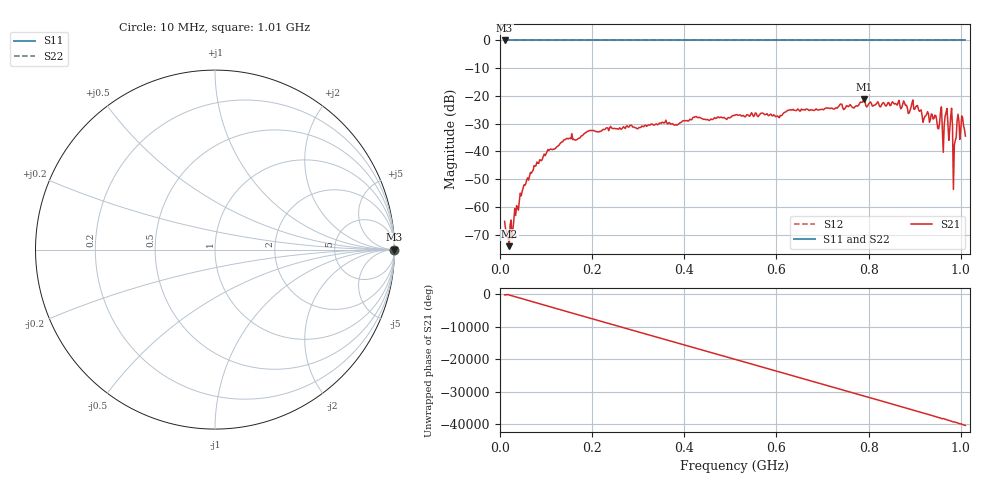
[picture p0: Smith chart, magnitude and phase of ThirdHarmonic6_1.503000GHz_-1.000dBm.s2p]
! 8/16/2025 5:40:12 PM
! C:\ANRITSUVNA\TEMP\TEMP.S2P
! CHANNEL.1
! TR.MEASUREMENT
! RAW.DATA
! RF.CORRECTION.OFF
! AVERAGING.OFF
! IF.BANDWIDTH: 5KHZ
! SWEEPTYPE:  FREQ.SWEEP(Linear)
! Reference Plane Port Info
! PORT:  PORT1  PORT2
! DISTANCE:  0  m  0  m
! TIME:  0  s  0  s
! PHASE.OFFSET:  0  deg.  0  deg.
! LOSS:  0  dB  0  dB
! REF.LOSS:  0  dB  0  dB
! REF.FREQ:  0  Hz  0  Hz
! Power Info
! POWER:  -20  dBm  -20  dBm
! EFF.POWER:  -20  dBm  -20  dBm
! SOURCE.ATTEN:  0  dB  0  dB
! TEST.ATTEN:  0  dB  0  dB
# GHZ S RI R 50.0
! FREQ.GHZ  S11RE  S11IM  S21RE  S21IM  S12RE  S12IM  S22RE  S22IM
!; PortSelection: Port_12
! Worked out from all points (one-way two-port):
!   501 points, 10 MHz to 1.01 GHz, reference 50 ohm
!   highest |S21| = -21.19 dB at 790 MHz (marker M1); lowest = -74.1 dB at 20 MHz (marker M2)
!   lowest |S11| = 0.0 dB at 10 MHz (marker M3)
!   |S11| at or under -10 dB: nowhere
!   |S22| runs from 0.0 to 0.0 dB; largest |S21 - S12| = 1.1
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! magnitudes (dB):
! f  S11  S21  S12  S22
! 10 MHz  0.0  -65.2  0.0  0.0
! 16 MHz  0.0  -70.4  0.0  0.0
! 20 MHz  0.0  -74.1  0.0  0.0
! 48 MHz  0.0  -54.5  0.0  0.0
! 78 MHz  0.0  -45.1  0.0  0.0
! 142 MHz  0.0  -35.8  0.0  0.0
! 178 MHz  0.0  -34.4  0.0  0.0
! 344 MHz  0.0  -30.2  0.0  0.0
! 510 MHz  0.0  -27.0  0.0  0.0
! 678 MHz  0.0  -25.0  0.0  0.0
! 790 MHz  0.0  -21.2  0.0  0.0
! 844 MHz  0.0  -22.4  0.0  0.0
! 898 MHz  0.0  -24.7  0.0  0.0
! 964 MHz  0.0  -30.6  0.0  0.0
! 968 MHz  0.0  -26.0  0.0  0.0
! 978 MHz  0.0  -27.6  0.0  0.0
! 986 MHz  0.0  -37.7  0.0  0.0
! 988 MHz  0.0  -36.0  0.0  0.0
! 990 MHz  0.0  -34.9  0.0  0.0
! 992 MHz  0.0  -29.0  0.0  0.0
! 1.004 GHz  0.0  -27.9  0.0  0.0
! 1.01 GHz  0.0  -34.4  0.0  0.0
